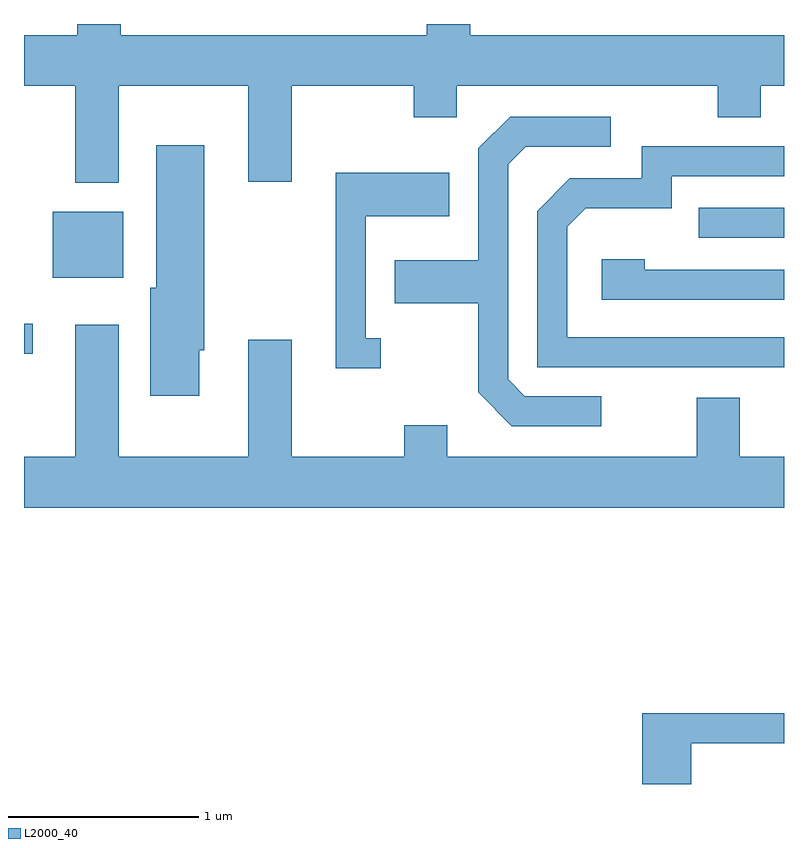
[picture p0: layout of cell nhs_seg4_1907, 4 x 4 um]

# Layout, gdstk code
import gdstk
lib = gdstk.Library(unit=1e-6, precision=1e-09)
def R(c, l, rs):  # rectangles x0, y0, x1, y1
    for r in rs: c.add(gdstk.rectangle(r[:2], r[2:], *l))
def P(c, l, *ps):  # polygons
    for p in ps: c.add(gdstk.Polygon(p, *l))
L2000_40 = (2000, 40)

nhs_seg4_1907 = lib.new_cell('nhs_seg4_1907')
R(nhs_seg4_1907, L2000_40, [(241.611,1262.246,241.658,1262.404), (241.761,1262.646,242.134,1262.994), (245.163,1262.856,245.611,1263.014)])
P(nhs_seg4_1907, L2000_40, [(242.109,1263.656),(242.791,1263.656),(242.791,1263.151),(243.019,1263.151),(243.019,1263.656),(243.661,1263.656),(243.661,1263.491),(243.889,1263.491),(243.889,1263.656),(245.261,1263.656),(245.261,1263.491),(245.489,1263.491),(245.489,1263.656),(245.611,1263.656),(245.611,1263.924),(243.959,1263.924),(243.959,1263.982),(243.731,1263.982),(243.731,1263.924),(242.119,1263.924),(242.119,1263.982),(241.891,1263.982),(241.891,1263.924),(241.611,1263.924),(241.611,1263.656),(241.881,1263.656),(241.881,1263.146),(242.109,1263.146)],
  [(244.648,1262.024),(244.247,1262.024),(244.159,1262.112),(244.159,1263.244),(244.252,1263.336),(244.698,1263.336),(244.698,1263.494),(244.169,1263.494),(244.001,1263.327),(244.001,1262.739),(243.561,1262.739),(243.561,1262.511),(244.001,1262.511),(244.001,1262.044),(244.179,1261.866),(244.648,1261.866)],
  [(242.534,1262.266),(242.559,1262.266),(242.559,1263.344),(242.306,1263.344),(242.306,1262.594),(242.276,1262.594),(242.276,1262.026),(242.534,1262.026)],
  [(245.611,1262.334),(244.469,1262.334),(244.469,1262.914),(244.567,1263.011),(245.019,1263.011),(245.019,1263.181),(245.611,1263.181),(245.611,1263.339),(244.861,1263.339),(244.861,1263.169),(244.484,1263.169),(244.311,1262.997),(244.311,1262.176),(245.611,1262.176)],
  [(243.488,1262.329),(243.409,1262.329),(243.409,1262.971),(243.849,1262.971),(243.849,1263.199),(243.251,1263.199),(243.251,1262.171),(243.488,1262.171)],
  [(245.611,1262.689),(244.879,1262.689),(244.879,1262.744),(244.651,1262.744),(244.651,1262.531),(245.611,1262.531)],
  [(241.881,1262.399),(241.881,1261.704),(241.611,1261.704),(241.611,1261.436),(245.611,1261.436),(245.611,1261.704),(245.379,1261.704),(245.379,1262.014),(245.151,1262.014),(245.151,1261.704),(243.839,1261.704),(243.839,1261.869),(243.611,1261.869),(243.611,1261.704),(243.019,1261.704),(243.019,1262.319),(242.791,1262.319),(242.791,1261.704),(242.109,1261.704),(242.109,1262.399)],
  [(245.124,1260.196),(245.611,1260.196),(245.611,1260.354),(244.866,1260.354),(244.866,1259.982),(245.124,1259.982)])

lib.write_gds('nhs_seg4_1907.gds')
